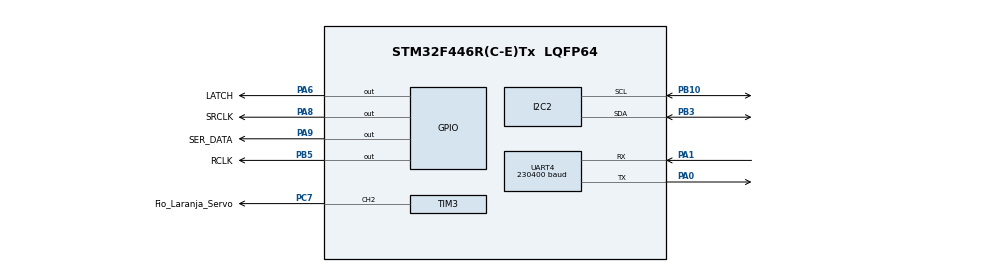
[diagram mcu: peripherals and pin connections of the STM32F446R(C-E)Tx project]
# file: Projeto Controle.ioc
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Mcu.Family=STM32F4
PC15-OSC32_OUT.Mode=LSE-External-Oscillator
PH0-OSC_IN.Signal=RCC_OSC_IN
RCC.CortexFreq_Value=16000000
PB10.Mode=I2C
PA9.GPIO_Label=SER_DATA
PA14.GPIO_Label=TCK
PA6.GPIO_Label=LATCH
UART4.VirtualMode=Asynchronous
PC14-OSC32_IN.Signal=RCC_OSC32_IN
ProjectManager.StackSize=0x400
PA0-WKUP.Signal=UART4_TX
PA0-WKUP.Mode=Asynchronous
PA13.Signal=SYS_JTMS-SWDIO
PA8.GPIO_Label=SRCLK
ProjectManager.TargetToolchain=STM32CubeIDE
UART4.BaudRate=230400
TIM3.Period=1250
PA9.Signal=GPIO_Output
PC7.Signal=S_TIM3_CH2
RCC.USBFreq_Value=96000000
PC15-OSC32_OUT.Signal=RCC_OSC32_OUT
PA1.Signal=UART4_RX
PH0-OSC_IN.Mode=HSE-External-Oscillator
PB10.Signal=I2C2_SCL
PA5.Signal=S_TIM2_CH1_ETR
SH.S_TIM3_CH2.0=TIM3_CH2,PWM Generation2 CH2
PB3.Mode=I2C
board=custom
RCC.VCOOutputFreq_Value=192000000
PA1.Mode=Asynchronous
PC14-OSC32_IN.Mode=LSE-External-Oscillator
VP_TIM2_VS_ClockSourceINT.Mode=Internal
PA14.Mode=Serial_Wire
PH1-OSC_OUT.Signal=RCC_OSC_OUT
PA8.Signal=GPIO_Output
TIM2.Period=79
PA13.Mode=Serial_Wire
Mcu.Name=STM32F446R(C-E)Tx
PA13.GPIO_Label=TMS
PC7.GPIO_Label=Fio_Laranja_Servo
PH1-OSC_OUT.Mode=HSE-External-Oscillator
PB3.Signal=I2C2_SDA
Mcu.Package=LQFP64
PB5.Signal=GPIO_Output
TIM2.Prescaler=5000
PA6.Signal=GPIO_Output
SH.S_TIM2_CH1_ETR.0=TIM2_CH1
PA14.Signal=SYS_JTCK-SWCLK
ProjectManager.HeapSize=0x200
NVIC.PriorityGroup=NVIC_PRIORITYGROUP_4
TIM3.Channel-PWM\ Generation2\ CH2=TIM_CHANNEL_2
PB5.GPIO_Label=RCLK
TIM3.Pulse-PWM\ Generation2\ CH2=94
VP_TIM3_VS_ClockSourceINT.Mode=Internal

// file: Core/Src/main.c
/* USER CODE BEGIN Header */
/**
  ******************************************************************************
  * @file           : main.c
  * @brief          : Main program body
  ******************************************************************************
  * @attention
  *
  * <h2><center>&copy; Copyright (c) 2023 STMicroelectronics.
  * All rights reserved.</center></h2>
  *
  * This software component is licensed by ST under BSD 3-Clause license,
  * the "License"; You may not use this file except in compliance with the
  * License. You may obtain a copy of the License at:
  *                        opensource.org/licenses/BSD-3-Clause
  *
  ******************************************************************************
  */
/* USER CODE END Header */
#include "main.h"
#include "SISTEMA_NAVEGACAO.h"

/* USER CODE BEGIN PTD */
#define bitMotor1A 2
#define bitMotor1B 3
#define bitMotor2A 1
#define bitMotor2B 4
#define bitMotor3A 5
#define bitMotor3B 7
#define bitMotor4A 0
#define bitMotor4B 6
/* USER CODE END PTD */

I2C_HandleTypeDef hi2c2;

TIM_HandleTypeDef htim2;
TIM_HandleTypeDef htim3;

UART_HandleTypeDef huart4;

/* USER CODE BEGIN PV */
uint16_t angulo;

// Structs do shield L293D
motor_dc motorTeste;
HC595 hc595;

/* USER CODE END PV */

void SystemClock_Config(void);
static void MX_GPIO_Init(void);
static void MX_I2C2_Init(void);
static void MX_TIM3_Init(void);
static void MX_TIM2_Init(void);
static void MX_UART4_Init(void);

int main(void)
{

  /* MCU Configuration--------------------------------------------------------*/

  /* Reset of all peripherals, Initializes the Flash interface and the Systick. */
  HAL_Init();

  /* Configure the system clock */
  SystemClock_Config();

  /* Initialize all configured peripherals */
  MX_GPIO_Init();
  MX_I2C2_Init();
  MX_TIM3_Init();
  MX_TIM2_Init();
  MX_UART4_Init();
  /* USER CODE BEGIN 2 */
  // Configurar sensores

  // Magnetômetro
  uint8_t config[3] = {0x70, 0xA0, 0x00};   // Exemplode configuração do ganho, taxa de aquisição e modo de operação do magnetômetro
  configuraMagnetometro(hi2c2, config[0], config[1], config[2]);

  // Motor
  configMotor(&motorTeste, htim2, TIM_CHANNEL_3);
  configHC595(&hc595, SRCLK_GPIO_Port, SRCLK_Pin, RCLK_GPIO_Port, RCLK_Pin, SER_DATA_GPIO_Port, SER_DATA_Pin);

  // Bluetooth
   char res[32] = {0};
   const char res1[128] = {0};
   const char res2[256] = {0};
   getResponse(huart4, res);
   HAL_Delay(1000);
   programarBluetooth(huart4);
   HAL_Delay(1000);

  /* USER CODE END 2 */

  /* Infinite loop */
  while (1)
  {

    /* USER CODE BEGIN 3 */

	  localizarBeacons(huart4, res1);
	  processarInformacoesBluetooth(res1, res2);

	  pilotoAutomatico();
  }
  /* USER CODE END 3 */
}

void SystemClock_Config(void)
{
  RCC_OscInitTypeDef RCC_OscInitStruct = {0};
  RCC_ClkInitTypeDef RCC_ClkInitStruct = {0};

  /** Configure the main internal regulator output voltage
  */
  __HAL_RCC_PWR_CLK_ENABLE();
  __HAL_PWR_VOLTAGESCALING_CONFIG(PWR_REGULATOR_VOLTAGE_SCALE3);
  /** Initializes the RCC Oscillators according to the specified parameters
  * in the RCC_OscInitTypeDef structure.
  */
  RCC_OscInitStruct.OscillatorType = RCC_OSCILLATORTYPE_HSI;
  RCC_OscInitStruct.HSIState = RCC_HSI_ON;
  RCC_OscInitStruct.HSICalibrationValue = RCC_HSICALIBRATION_DEFAULT;
  RCC_OscInitStruct.PLL.PLLState = RCC_PLL_NONE;
  if (HAL_RCC_OscConfig(&RCC_OscInitStruct) != HAL_OK)
  {
    Error_Handler();
  }
  /** Initializes the CPU, AHB and APB buses clocks
  */
  RCC_ClkInitStruct.ClockType = RCC_CLOCKTYPE_HCLK|RCC_CLOCKTYPE_SYSCLK
                              |RCC_CLOCKTYPE_PCLK1|RCC_CLOCKTYPE_PCLK2;
  RCC_ClkInitStruct.SYSCLKSource = RCC_SYSCLKSOURCE_HSI;
  RCC_ClkInitStruct.AHBCLKDivider = RCC_SYSCLK_DIV1;
  RCC_ClkInitStruct.APB1CLKDivider = RCC_HCLK_DIV1;
  RCC_ClkInitStruct.APB2CLKDivider = RCC_HCLK_DIV1;

  if (HAL_RCC_ClockConfig(&RCC_ClkInitStruct, FLASH_LATENCY_0) != HAL_OK)
  {
    Error_Handler();
  }
}

static void MX_I2C2_Init(void)
{

  hi2c2.Instance = I2C2;
  hi2c2.Init.ClockSpeed = 100000;
  hi2c2.Init.DutyCycle = I2C_DUTYCYCLE_2;
  hi2c2.Init.OwnAddress1 = 0;
  hi2c2.Init.AddressingMode = I2C_ADDRESSINGMODE_7BIT;
  hi2c2.Init.DualAddressMode = I2C_DUALADDRESS_DISABLE;
  hi2c2.Init.OwnAddress2 = 0;
  hi2c2.Init.GeneralCallMode = I2C_GENERALCALL_DISABLE;
  hi2c2.Init.NoStretchMode = I2C_NOSTRETCH_DISABLE;
  if (HAL_I2C_Init(&hi2c2) != HAL_OK)
  {
    Error_Handler();
  }

}

static void MX_TIM2_Init(void)
{

  TIM_ClockConfigTypeDef sClockSourceConfig = {0};
  TIM_MasterConfigTypeDef sMasterConfig = {0};

  htim2.Instance = TIM2;
  htim2.Init.Prescaler = 5000;
  htim2.Init.CounterMode = TIM_COUNTERMODE_UP;
  htim2.Init.Period = 79;
  htim2.Init.ClockDivision = TIM_CLOCKDIVISION_DIV1;
  htim2.Init.AutoReloadPreload = TIM_AUTORELOAD_PRELOAD_DISABLE;
  if (HAL_TIM_Base_Init(&htim2) != HAL_OK)
  {
    Error_Handler();
  }
  sClockSourceConfig.ClockSource = TIM_CLOCKSOURCE_INTERNAL;
  if (HAL_TIM_ConfigClockSource(&htim2, &sClockSourceConfig) != HAL_OK)
  {
    Error_Handler();
  }
  sMasterConfig.MasterOutputTrigger = TIM_TRGO_RESET;
  sMasterConfig.MasterSlaveMode = TIM_MASTERSLAVEMODE_DISABLE;
  if (HAL_TIMEx_MasterConfigSynchronization(&htim2, &sMasterConfig) != HAL_OK)
  {
    Error_Handler();
  }

}

static void MX_TIM3_Init(void)
{

  TIM_ClockConfigTypeDef sClockSourceConfig = {0};
  TIM_MasterConfigTypeDef sMasterConfig = {0};
  TIM_OC_InitTypeDef sConfigOC = {0};

  htim3.Instance = TIM3;
  htim3.Init.Prescaler = 0;
  htim3.Init.CounterMode = TIM_COUNTERMODE_UP;
  htim3.Init.Period = 1250;
  htim3.Init.ClockDivision = TIM_CLOCKDIVISION_DIV1;
  htim3.Init.AutoReloadPreload = TIM_AUTORELOAD_PRELOAD_DISABLE;
  if (HAL_TIM_Base_Init(&htim3) != HAL_OK)
  {
    Error_Handler();
  }
  sClockSourceConfig.ClockSource = TIM_CLOCKSOURCE_INTERNAL;
  if (HAL_TIM_ConfigClockSource(&htim3, &sClockSourceConfig) != HAL_OK)
  {
    Error_Handler();
  }
  if (HAL_TIM_PWM_Init(&htim3) != HAL_OK)
  {
    Error_Handler();
  }
  sMasterConfig.MasterOutputTrigger = TIM_TRGO_RESET;
  sMasterConfig.MasterSlaveMode = TIM_MASTERSLAVEMODE_DISABLE;
  if (HAL_TIMEx_MasterConfigSynchronization(&htim3, &sMasterConfig) != HAL_OK)
  {
    Error_Handler();
  }
  sConfigOC.OCMode = TIM_OCMODE_PWM1;
  sConfigOC.Pulse = 94;
  sConfigOC.OCPolarity = TIM_OCPOLARITY_HIGH;
  sConfigOC.OCFastMode = TIM_OCFAST_DISABLE;
  if (HAL_TIM_PWM_ConfigChannel(&htim3, &sConfigOC, TIM_CHANNEL_2) != HAL_OK)
  {
    Error_Handler();
  }
  HAL_TIM_MspPostInit(&htim3);

}

static void MX_UART4_Init(void)
{

  huart4.Instance = UART4;
  huart4.Init.BaudRate = 230400;
  huart4.Init.WordLength = UART_WORDLENGTH_8B;
  huart4.Init.StopBits = UART_STOPBITS_1;
  huart4.Init.Parity = UART_PARITY_NONE;
  huart4.Init.Mode = UART_MODE_TX_RX;
  huart4.Init.HwFlowCtl = UART_HWCONTROL_NONE;
  huart4.Init.OverSampling = UART_OVERSAMPLING_16;
  if (HAL_UART_Init(&huart4) != HAL_OK)
  {
    Error_Handler();
  }

}

static void MX_GPIO_Init(void)
{
  GPIO_InitTypeDef GPIO_InitStruct = {0};

  /* GPIO Ports Clock Enable */
  __HAL_RCC_GPIOC_CLK_ENABLE();
  __HAL_RCC_GPIOH_CLK_ENABLE();
  __HAL_RCC_GPIOA_CLK_ENABLE();
  __HAL_RCC_GPIOB_CLK_ENABLE();

  /*Configure GPIO pin Output Level */
  HAL_GPIO_WritePin(GPIOA, LATCH_Pin|SRCLK_Pin|SER_DATA_Pin, GPIO_PIN_RESET);

  /*Configure GPIO pin Output Level */
  HAL_GPIO_WritePin(RCLK_GPIO_Port, RCLK_Pin, GPIO_PIN_RESET);

  /*Configure GPIO pins : LATCH_Pin SRCLK_Pin SER_DATA_Pin */
  GPIO_InitStruct.Pin = LATCH_Pin|SRCLK_Pin|SER_DATA_Pin;
  GPIO_InitStruct.Mode = GPIO_MODE_OUTPUT_PP;
  GPIO_InitStruct.Pull = GPIO_NOPULL;
  GPIO_InitStruct.Speed = GPIO_SPEED_FREQ_LOW;
  HAL_GPIO_Init(GPIOA, &GPIO_InitStruct);

  /*Configure GPIO pin : RCLK_Pin */
  GPIO_InitStruct.Pin = RCLK_Pin;
  GPIO_InitStruct.Mode = GPIO_MODE_OUTPUT_PP;
  GPIO_InitStruct.Pull = GPIO_NOPULL;
  GPIO_InitStruct.Speed = GPIO_SPEED_FREQ_LOW;
  HAL_GPIO_Init(RCLK_GPIO_Port, &GPIO_InitStruct);

}

void Error_Handler(void)
{
  __disable_irq();
  while (1)
  {
  }
}

/************************ (C) COPYRIGHT STMicroelectronics *****END OF FILE****/
